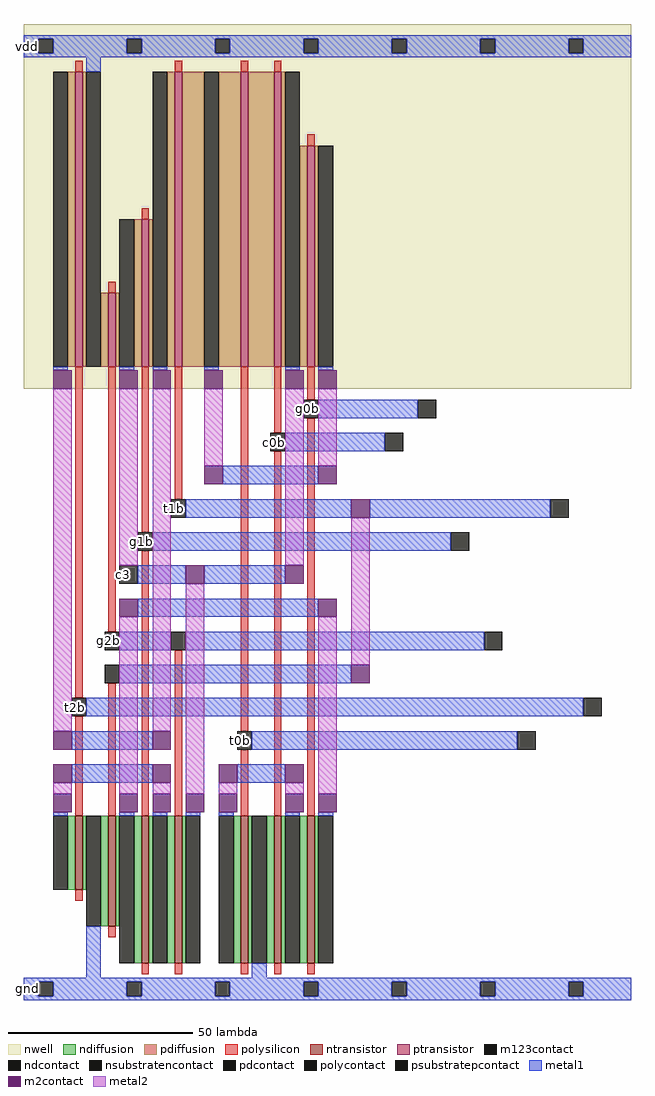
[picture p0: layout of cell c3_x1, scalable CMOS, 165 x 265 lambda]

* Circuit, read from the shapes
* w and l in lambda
.subckt c3_x1 c0b c3 g0b g1b g2b t0b t1b t2b vdd gnd
M1 gnd t2b n1 gnd nfet w=20 l=2
M2 n2 t1b gnd gnd nfet w=30 l=2
M3 n1 g1b n2 gnd nfet w=40 l=2
M4 c3 g2b n1 gnd nfet w=40 l=2
M5 gnd t0b n3 gnd nfet w=40 l=2
M6 n3 c0b gnd gnd nfet w=40 l=2
M7 n2 g0b n3 gnd nfet w=40 l=2
M8 vdd t2b n4 vdd pfet w=80 l=2
M9 c3 g2b vdd vdd pfet w=20 l=2
M10 n4 g1b c3 vdd pfet w=40 l=2
M11 n5 t1b n4 vdd pfet w=80 l=2
M12 n6 t0b n5 vdd pfet w=80 l=2
M13 c3 c0b n6 vdd pfet w=80 l=2
M14 n5 g0b c3 vdd pfet w=60 l=2
.ends

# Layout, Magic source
magic
tech scmos
<< nwell >>
rect 0 166 165 265
<< ntransistor >>
rect 14 30 16 50
rect 23 20 25 50
rect 32 10 34 50
rect 41 10 43 50
rect 59 10 61 50
rect 68 10 70 50
rect 77 10 79 50
<< ptransistor >>
rect 14 172 16 252
rect 23 172 25 192
rect 32 172 34 212
rect 41 172 43 252
rect 59 172 61 252
rect 68 172 70 252
rect 77 172 79 232
<< ndiffusion >>
rect 12 30 14 50
rect 16 30 17 50
rect 21 20 23 50
rect 25 20 26 50
rect 30 10 32 50
rect 34 10 35 50
rect 39 10 41 50
rect 43 10 44 50
rect 57 10 59 50
rect 61 10 62 50
rect 66 10 68 50
rect 70 10 71 50
rect 75 10 77 50
rect 79 10 80 50
<< pdiffusion >>
rect 12 172 14 252
rect 16 172 17 252
rect 21 172 23 192
rect 25 172 26 192
rect 30 172 32 212
rect 34 172 35 212
rect 39 172 41 252
rect 43 172 49 252
rect 53 172 59 252
rect 61 172 68 252
rect 70 172 71 252
rect 75 172 77 232
rect 79 172 80 232
<< ndcontact >>
rect 8 30 12 50
rect 17 20 21 50
rect 26 10 30 50
rect 35 10 39 50
rect 44 10 48 50
rect 53 10 57 50
rect 62 10 66 50
rect 71 10 75 50
rect 80 10 84 50
<< pdcontact >>
rect 8 172 12 252
rect 17 172 21 252
rect 26 172 30 212
rect 35 172 39 252
rect 49 172 53 252
rect 71 172 75 252
rect 80 172 84 232
<< psubstratepcontact >>
rect 4 1 8 5
rect 28 1 32 5
rect 52 1 56 5
rect 76 1 80 5
rect 100 1 104 5
rect 124 1 128 5
rect 148 1 152 5
<< nsubstratencontact >>
rect 4 257 8 261
rect 28 257 32 261
rect 52 257 56 261
rect 76 257 80 261
rect 100 257 104 261
rect 124 257 128 261
rect 148 257 152 261
<< polysilicon >>
rect 14 252 16 255
rect 41 252 43 255
rect 59 252 61 255
rect 68 252 70 255
rect 32 212 34 215
rect 23 192 25 195
rect 77 232 79 235
rect 14 82 16 172
rect 23 100 25 172
rect 32 127 34 172
rect 41 136 43 172
rect 14 50 16 77
rect 23 50 25 86
rect 32 50 34 122
rect 41 50 43 95
rect 59 73 61 172
rect 68 154 70 172
rect 77 163 79 172
rect 59 50 61 68
rect 68 50 70 149
rect 77 50 79 158
rect 14 27 16 30
rect 23 17 25 20
rect 32 7 34 10
rect 41 7 43 10
rect 59 7 61 10
rect 68 7 70 10
rect 77 7 79 10
<< polycontact >>
rect 40 131 44 136
rect 31 122 35 127
rect 22 95 26 100
rect 22 86 26 91
rect 13 77 17 82
rect 40 95 44 100
rect 76 158 80 163
rect 67 149 71 154
rect 58 68 62 73
<< metal1 >>
rect 0 261 165 262
rect 0 257 4 261
rect 8 257 28 261
rect 32 257 52 261
rect 56 257 76 261
rect 80 257 100 261
rect 104 257 124 261
rect 128 257 148 261
rect 152 257 165 261
rect 0 256 165 257
rect 17 252 21 256
rect 8 171 12 172
rect 26 171 30 172
rect 35 171 39 172
rect 49 171 53 172
rect 71 171 75 172
rect 80 171 84 172
rect 80 158 107 163
rect 71 149 98 154
rect 54 140 80 145
rect 44 131 89 136
rect 94 131 143 136
rect 35 122 116 127
rect 31 113 44 118
rect 49 113 71 118
rect 31 104 80 109
rect 26 95 40 100
rect 44 95 125 100
rect 26 86 89 91
rect 17 77 152 82
rect 13 68 35 73
rect 62 68 134 73
rect 13 59 35 64
rect 58 59 71 64
rect 8 50 12 51
rect 26 50 30 51
rect 17 6 21 20
rect 35 50 39 51
rect 44 50 48 51
rect 53 50 57 51
rect 71 50 75 51
rect 80 50 84 51
rect 62 6 66 10
rect 0 5 165 6
rect 0 1 4 5
rect 8 1 28 5
rect 32 1 52 5
rect 56 1 76 5
rect 80 1 100 5
rect 104 1 124 5
rect 128 1 148 5
rect 152 1 165 5
rect 0 0 165 1
<< m2contact >>
rect 8 166 13 171
rect 26 166 31 171
rect 35 166 40 171
rect 49 166 54 171
rect 71 166 76 171
rect 80 166 85 171
rect 49 140 54 145
rect 80 140 85 145
rect 89 131 94 136
rect 44 113 49 118
rect 71 113 76 118
rect 26 104 31 109
rect 80 104 85 109
rect 89 86 94 91
rect 8 68 13 73
rect 35 68 40 73
rect 8 59 13 64
rect 35 59 40 64
rect 53 59 58 64
rect 71 59 76 64
rect 8 51 13 56
rect 26 51 31 56
rect 35 51 40 56
rect 44 51 49 56
rect 53 51 58 56
rect 71 51 76 56
rect 80 51 85 56
<< metal2 >>
rect 8 73 13 166
rect 26 118 31 166
rect 8 56 13 59
rect 26 56 31 104
rect 35 73 40 166
rect 49 145 54 166
rect 71 118 76 166
rect 80 145 85 166
rect 35 56 40 59
rect 44 56 49 113
rect 53 56 58 59
rect 71 56 76 59
rect 80 56 85 104
rect 89 91 94 131
<< m123contact >>
rect 26 113 31 118
rect 107 158 112 163
rect 98 149 103 154
rect 143 131 148 136
rect 116 122 121 127
rect 125 95 130 100
rect 152 77 157 82
rect 134 68 139 73
<< labels >>
rlabel metal1 67 149 69 154 0 c0b
port 1 nsew
rlabel metal1 26 113 28 118 0 c3
port 2 nsew
rlabel metal1 76 158 78 163 0 g0b
port 3 nsew
rlabel metal1 31 122 33 127 0 g1b
port 4 nsew
rlabel metal1 22 95 24 100 0 g2b
port 5 nsew
rlabel metal1 58 68 60 73 0 t0b
port 6 nsew
rlabel metal1 40 131 42 136 0 t1b
port 7 nsew
rlabel metal1 13 77 15 82 0 t2b
port 8 nsew
rlabel metal1 0 256 2 262 0 vdd
port 9 nsew
rlabel metal1 0 0 2 6 0 gnd
port 10 nsew
<< end >>
